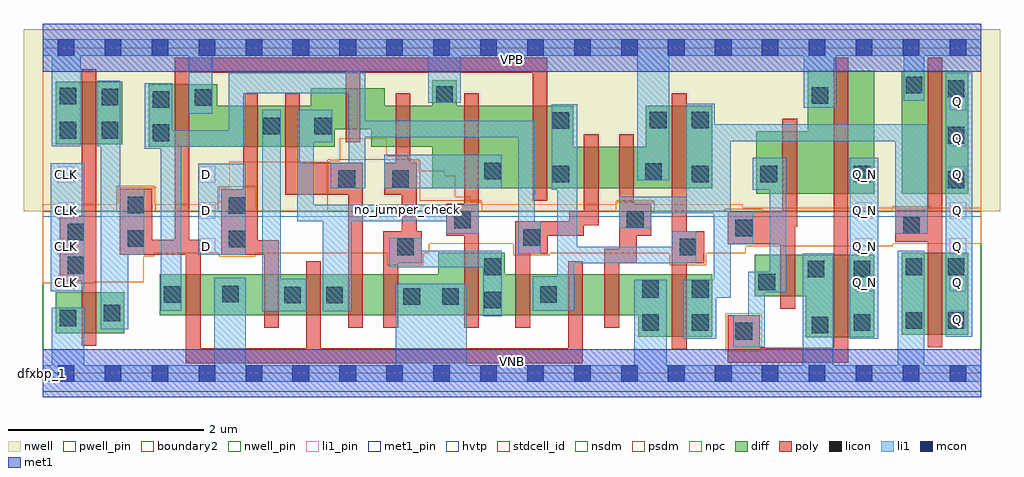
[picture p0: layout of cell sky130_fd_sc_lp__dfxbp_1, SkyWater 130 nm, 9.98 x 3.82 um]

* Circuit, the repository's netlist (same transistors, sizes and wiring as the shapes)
* Copyright 2020 The SkyWater PDK Authors
*
* Licensed under the Apache License, Version 2.0 (the "License");
* you may not use this file except in compliance with the License.
* You may obtain a copy of the License at
*
*     https://www.apache.org/licenses/LICENSE-2.0
*
* Unless required by applicable law or agreed to in writing, software
* distributed under the License is distributed on an "AS IS" BASIS,
* WITHOUT WARRANTIES OR CONDITIONS OF ANY KIND, either express or implied.
* See the License for the specific language governing permissions and
* limitations under the License.
*
* SPDX-License-Identifier: Apache-2.0

.SUBCKT sky130_fd_sc_lp__dfxbp_1 CLK D VGND VNB VPB VPWR Q Q_N
*.PININFO CLK:I D:I VGND:I VNB:I VPB:I VPWR:I Q:O Q_N:O
MI657 M0 clkpos net72 VNB sky130_fd_pr__nfet_01v8 m=1 w=0.42U l=0.15U mult=1 sa=0.265
+ sb=0.265 sd=0.28 area=0.063 perim=1.14
MI656 net72 M1 VGND VNB sky130_fd_pr__nfet_01v8 m=1 w=0.42U l=0.15U mult=1 sa=0.265
+ sb=0.265 sd=0.28 area=0.063 perim=1.14
MI646 Q S1 VGND VNB sky130_fd_pr__nfet_01v8 m=1 w=0.84U l=0.15U mult=1 sa=0.265
+ sb=0.265 sd=0.28 area=0.063 perim=1.14
MI662 net116 S1 VGND VNB sky130_fd_pr__nfet_01v8 m=1 w=0.42U l=0.15U mult=1 sa=0.265
+ sb=0.265 sd=0.28 area=0.063 perim=1.14
MI648 db clkneg M0 VNB sky130_fd_pr__nfet_01v8 m=1 w=0.42U l=0.15U mult=1 sa=0.265
+ sb=0.265 sd=0.28 area=0.063 perim=1.14
MI654 db D VGND VNB sky130_fd_pr__nfet_01v8 m=1 w=0.42U l=0.15U mult=1 sa=0.265
+ sb=0.265 sd=0.28 area=0.063 perim=1.14
MI642 S0 clkneg net48 VNB sky130_fd_pr__nfet_01v8 m=1 w=0.42U l=0.15U mult=1 sa=0.265
+ sb=0.265 sd=0.28 area=0.063 perim=1.14
MI641 net48 S1 VGND VNB sky130_fd_pr__nfet_01v8 m=1 w=0.42U l=0.15U mult=1 sa=0.265
+ sb=0.265 sd=0.28 area=0.063 perim=1.14
MI661 Q_N net116 VGND VNB sky130_fd_pr__nfet_01v8 m=1 w=0.84U l=0.15U mult=1 sa=0.265
+ sb=0.265 sd=0.28 area=0.063 perim=1.14
MI652 M1 clkpos S0 VNB sky130_fd_pr__nfet_01v8 m=1 w=0.42U l=0.15U mult=1 sa=0.265
+ sb=0.265 sd=0.28 area=0.063 perim=1.14
MI649 S1 S0 VGND VNB sky130_fd_pr__nfet_01v8 m=1 w=0.64U l=0.15U mult=1 sa=0.265
+ sb=0.265 sd=0.28 area=0.063 perim=1.14
MI635 clkneg CLK VGND VNB sky130_fd_pr__nfet_01v8 m=1 w=0.42U l=0.15U mult=1 sa=0.265
+ sb=0.265 sd=0.28 area=0.063 perim=1.14
MI636 clkpos clkneg VGND VNB sky130_fd_pr__nfet_01v8 m=1 w=0.42U l=0.15U mult=1
+ sa=0.265 sb=0.265 sd=0.28 area=0.063 perim=1.14
MI634 M1 M0 VGND VNB sky130_fd_pr__nfet_01v8 m=1 w=0.64U l=0.15U mult=1 sa=0.265
+ sb=0.265 sd=0.28 area=0.063 perim=1.14
MI659 M0 clkneg net100 VPB sky130_fd_pr__pfet_01v8_hvt m=1 w=0.42U l=0.15U mult=1
+ sa=0.265 sb=0.265 sd=0.28 area=0.063 perim=1.14
MI660 Q_N net116 VPWR VPB sky130_fd_pr__pfet_01v8_hvt m=1 w=1.26U l=0.15U mult=1
+ sa=0.265 sb=0.265 sd=0.28 area=0.063 perim=1.14
MI650 S1 S0 VPWR VPB sky130_fd_pr__pfet_01v8_hvt m=1 w=0.84U l=0.15U mult=1 sa=0.265
+ sb=0.265 sd=0.28 area=0.063 perim=1.14
MI644 S0 clkpos net119 VPB sky130_fd_pr__pfet_01v8_hvt m=1 w=0.42U l=0.15U mult=1
+ sa=0.265 sb=0.265 sd=0.28 area=0.063 perim=1.14
MI647 net116 S1 VPWR VPB sky130_fd_pr__pfet_01v8_hvt m=1 w=0.64U l=0.15U mult=1
+ sa=0.265 sb=0.265 sd=0.28 area=0.063 perim=1.14
MI639 M1 M0 VPWR VPB sky130_fd_pr__pfet_01v8_hvt m=1 w=0.84U l=0.15U mult=1 sa=0.265
+ sb=0.265 sd=0.28 area=0.063 perim=1.14
MI643 net119 S1 VPWR VPB sky130_fd_pr__pfet_01v8_hvt m=1 w=0.42U l=0.15U mult=1
+ sa=0.265 sb=0.265 sd=0.28 area=0.063 perim=1.14
MI638 clkneg CLK VPWR VPB sky130_fd_pr__pfet_01v8_hvt m=1 w=0.64U l=0.15U mult=1
+ sa=0.265 sb=0.265 sd=0.28 area=0.063 perim=1.14
MI658 net100 M1 VPWR VPB sky130_fd_pr__pfet_01v8_hvt m=1 w=0.42U l=0.15U mult=1
+ sa=0.265 sb=0.265 sd=0.28 area=0.063 perim=1.14
MI645 Q S1 VPWR VPB sky130_fd_pr__pfet_01v8_hvt m=1 w=1.26U l=0.15U mult=1 sa=0.265
+ sb=0.265 sd=0.28 area=0.063 perim=1.14
MI651 db clkpos M0 VPB sky130_fd_pr__pfet_01v8_hvt m=1 w=0.42U l=0.15U mult=1 sa=0.265
+ sb=0.265 sd=0.28 area=0.063 perim=1.14
MI655 db D VPWR VPB sky130_fd_pr__pfet_01v8_hvt m=1 w=0.42U l=0.15U mult=1 sa=0.265
+ sb=0.265 sd=0.28 area=0.063 perim=1.14
MI653 M1 clkneg S0 VPB sky130_fd_pr__pfet_01v8_hvt m=1 w=0.84U l=0.15U mult=1 sa=0.265
+ sb=0.265 sd=0.28 area=0.063 perim=1.14
MI637 clkpos clkneg VPWR VPB sky130_fd_pr__pfet_01v8_hvt m=1 w=0.64U l=0.15U mult=1
+ sa=0.265 sb=0.265 sd=0.28 area=0.063 perim=1.14
.ENDS sky130_fd_sc_lp__dfxbp_1

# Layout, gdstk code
import gdstk
lib = gdstk.Library(unit=1e-6, precision=1e-09)
def R(c, l, rs):  # rectangles x0, y0, x1, y1
    for r in rs: c.add(gdstk.rectangle(r[:2], r[2:], *l))
def A(c, l, x, y, w, h, nx, ny, dx, dy):  # array of equal rectangles
    R(c, l, [(x+i*dx, y+j*dy, x+i*dx+w, y+j*dy+h) for i in range(nx) for j in range(ny)])
def P(c, l, *ps):  # polygons
    for p in ps: c.add(gdstk.Polygon(p, *l))
nwell_pin = (64, 16)
nwell = (64, 20)
diff = (65, 20)
poly = (66, 20)
licon = (66, 44)
li1_pin = (67, 16)
li1 = (67, 20)
mcon = (67, 44)
met1_pin = (68, 16)
met1 = (68, 20)
hvtp = (78, 44)
stdcell_id = (81, 4)
nsdm = (93, 44)
psdm = (94, 20)
npc = (95, 20)
pwell_pin = (122, 16)
boundary2 = (236, 0)

sky130_fd_sc_lp__dfxbp_1 = lib.new_cell('sky130_fd_sc_lp__dfxbp_1')
R(sky130_fd_sc_lp__dfxbp_1, nwell_pin, [(0,3.085,9.6,3.33)])
R(sky130_fd_sc_lp__dfxbp_1, nwell, [(-0.19,1.655,9.79,3.52)])
R(sky130_fd_sc_lp__dfxbp_1, diff, [(8.785,0.395,9.465,1.235), (0.135,0.41,0.835,0.83), (8.785,1.835,9.465,3.095), (0.135,2.34,0.815,2.98)])
P(sky130_fd_sc_lp__dfxbp_1, diff, [(6.85,2.735),(6.17,2.735),(6.17,2.315),(5.425,2.315),(5.425,2.735),(4.235,2.735),(4.235,2.995),(3.985,2.995),(3.985,2.735),(3.5,2.735),(3.5,2.915),(2.74,2.915),(2.74,2.735),(1.785,2.735),(1.785,2.955),(1.085,2.955),(1.085,2.315),(2.99,2.315),(2.99,2.495),(3.36,2.495),(3.36,2.315),(3.985,2.315),(3.985,1.895),(6.85,1.895)],
  [(6.85,1.015),(4.725,1.015),(4.725,1.235),(4.045,1.235),(4.045,1.015),(1.2,1.015),(1.2,0.595),(6.09,0.595),(6.09,0.375),(6.85,0.375)],
  [(8.505,3.095),(7.825,3.095),(7.825,2.475),(7.3,2.475),(7.3,1.835),(8.505,1.835)],
  [(8.505,1.21),(7.28,1.21),(7.28,0.79),(7.805,0.79),(7.805,0.37),(8.505,0.37)])
P(sky130_fd_sc_lp__dfxbp_1, poly, [(3.875,1.455),(3.825,1.455),(3.825,2.155),(3.76,2.155),(3.76,2.865),(3.61,2.865),(3.61,2.155),(3.495,2.155),(3.495,1.825),(3.675,1.825),(3.675,1.455),(3.485,1.455),(3.485,0.465),(3.635,0.465),(3.635,1.125),(3.875,1.125)],
  [(0.55,3.11),(0.4,3.11),(0.4,1.61),(0.175,1.61),(0.175,0.94),(0.4,0.94),(0.4,0.28),(0.55,0.28)],
  [(2.415,1.36),(2.2,1.36),(2.2,2.865),(2.05,2.865),(2.05,1.88),(1.825,1.88),(1.825,1.21),(2.265,1.21),(2.265,0.465),(2.415,0.465)],
  [(3.275,2.155),(2.63,2.155),(2.63,2.865),(2.48,2.865),(2.48,1.825),(3.125,1.825),(3.125,0.465),(3.275,0.465)],
  [(4.46,2.865),(4.31,2.865),(4.31,1.735),(4.13,1.735),(4.13,1.405),(4.31,1.405),(4.31,0.465),(4.46,0.465)],
  [(5.525,1.145),(5.375,1.145),(5.375,0.255),(2.845,0.255),(2.845,1.145),(2.695,1.145),(2.695,0.255),(1.615,0.255),(1.615,1.365),(1.5,1.365),(1.5,3.075),(3.1,3.075),(3.1,2.365),(3.25,2.365),(3.25,3.075),(5.01,3.075),(5.01,1.765),(5.16,1.765),(5.16,3.225),(1.35,3.225),(1.35,1.365),(1.12,1.365),(1.12,1.885),(0.79,1.885),(0.79,1.215),(1.465,1.215),(1.465,0.105),(5.525,0.105)],
  [(5.685,2.445),(5.535,2.445),(5.535,1.665),(5.385,1.665),(5.385,1.555),(4.835,1.555),(4.835,0.465),(4.985,0.465),(4.985,1.225),(5.165,1.225),(5.165,1.405),(5.535,1.405),(5.535,1.515),(5.685,1.515)],
  [(6.225,1.735),(6.045,1.735),(6.045,2.445),(5.895,2.445),(5.895,1.275),(5.745,1.275),(5.745,0.465),(5.895,0.465),(5.895,1.125),(6.075,1.125),(6.075,1.405),(6.225,1.405)],
  [(6.765,1.455),(6.585,1.455),(6.585,2.865),(6.435,2.865),(6.435,0.245),(6.585,0.245),(6.585,1.125),(6.765,1.125)],
  [(7.715,2.605),(7.565,2.605),(7.565,1.65),(7.005,1.65),(7.005,1.32),(7.545,1.32),(7.545,0.66),(7.695,0.66),(7.695,1.5),(7.715,1.5)],
  [(8.24,3.225),(8.09,3.225),(8.09,0.26),(7.335,0.26),(7.335,0.595),(7.005,0.595),(7.005,0.11),(8.24,0.11)],
  [(9.2,3.225),(9.05,3.225),(9.05,1.675),(8.72,1.675),(8.72,1.345),(9.05,1.345),(9.05,0.265),(9.2,0.265)])
R(sky130_fd_sc_lp__dfxbp_1, licon, [(7.085,0.345,7.255,0.515), (7.865,0.41,8.035,0.58), (6.13,0.435,6.3,0.605), (6.64,0.435,6.81,0.605), (8.295,0.435,8.465,0.605), (8.825,0.455,8.995,0.625), (9.255,0.455,9.425,0.625), (0.175,0.48,0.345,0.65), (0.625,0.53,0.795,0.7), (4.515,0.665,4.685,0.835), (3.69,0.7,3.86,0.87), (4.085,0.7,4.255,0.87), (2.47,0.715,2.64,0.885), (2.9,0.715,3.07,0.885), (1.24,0.72,1.41,0.89), (5.09,0.72,5.26,0.89), (1.835,0.725,2.005,0.895), (6.13,0.775,6.3,0.945), (6.64,0.775,6.81,0.945), (7.32,0.85,7.49,1.02), (7.825,0.98,7.995,1.15), (8.295,0.98,8.465,1.15), (4.515,1.005,4.685,1.175), (8.825,1.005,8.995,1.175), (9.255,1.005,9.425,1.175), (0.255,1.02,0.425,1.19), (3.625,1.205,3.795,1.375), (6.515,1.205,6.685,1.375), (1.905,1.29,2.075,1.46), (0.87,1.295,1.04,1.465), (4.915,1.305,5.085,1.475), (0.255,1.36,0.425,1.53), (7.085,1.4,7.255,1.57), (8.8,1.425,8.97,1.595), (4.21,1.485,4.38,1.655), (5.975,1.485,6.145,1.655), (1.905,1.63,2.075,1.8), (0.87,1.635,1.04,1.805), (9.255,1.895,9.425,2.065), (3.025,1.905,3.195,2.075), (3.575,1.905,3.745,2.075), (5.215,1.955,5.385,2.125), (6.64,1.955,6.81,2.125), (7.34,1.955,7.51,2.125), (8.295,1.955,8.465,2.125), (6.16,1.98,6.33,2.15), (4.515,1.985,4.685,2.155), (9.255,2.35,9.425,2.52), (1.125,2.375,1.295,2.545), (0.175,2.4,0.345,2.57), (0.605,2.4,0.775,2.57), (2.255,2.445,2.425,2.615), (2.78,2.445,2.95,2.615), (5.215,2.5,5.385,2.67), (6.21,2.505,6.38,2.675), (6.64,2.505,6.81,2.675), (1.125,2.715,1.295,2.885), (1.555,2.735,1.725,2.905), (0.605,2.74,0.775,2.91), (0.175,2.75,0.345,2.92), (7.865,2.755,8.035,2.925), (4.025,2.765,4.195,2.935), (9.255,2.825,9.425,2.995), (8.825,2.865,8.995,3.035)])
A(sky130_fd_sc_lp__dfxbp_1, li1_pin, 9.275, 0.47, 0.17, 0.17, 1, 7, 0, 0.37)
A(sky130_fd_sc_lp__dfxbp_1, li1_pin, 0.155, 0.84, 0.17, 0.17, 1, 4, 0, 0.37)
A(sky130_fd_sc_lp__dfxbp_1, li1_pin, 8.315, 0.84, 0.17, 0.17, 1, 4, 0, 0.37)
A(sky130_fd_sc_lp__dfxbp_1, li1_pin, 1.595, 1.21, 0.17, 0.17, 1, 3, 0, 0.37)
R(sky130_fd_sc_lp__dfxbp_1, li1, [(8.255,0.355,8.545,2.205), (9.235,0.375,9.505,3.075), (0.085,0.84,0.425,2.15), (1.59,1.21,2.075,2.145), (3.495,1.895,4.695,2.235)])
P(sky130_fd_sc_lp__dfxbp_1, li1, [(9.05,2.545),(6.875,2.545),(6.875,2.755),(6.58,2.755),(6.58,1.805),(5.895,1.805),(5.895,1.485),(6.225,1.485),(6.225,1.635),(6.865,1.635),(6.865,0.955),(6.55,0.955),(6.55,0.355),(6.89,0.355),(6.89,0.775),(7.035,0.775),(7.035,1.32),(7.265,1.32),(7.265,1.65),(7.035,1.65),(7.035,2.375),(8.72,2.375),(8.72,1.425),(9.05,1.425)],
  [(1.325,2.485),(1.905,2.485),(1.905,3.075),(3.3,3.075),(3.3,2.585),(5.035,2.585),(5.035,1.555),(5.095,1.555),(5.095,1.225),(4.865,1.225),(4.865,2.415),(3.3,2.415),(3.3,1.895),(2.945,1.895),(2.945,2.155),(3.13,2.155),(3.13,2.865),(2.075,2.865),(2.075,2.315),(1.42,2.315),(1.42,0.64),(1.21,0.64),(1.21,2.295),(1.045,2.295),(1.045,2.965),(1.325,2.965)],
  [(3.945,2.765),(3.945,3.245),(1.735,3.245),(1.735,2.655),(1.495,2.655),(1.495,3.245),(0.39,3.245),(0.39,2.32),(0.095,2.32),(0.095,3.245),(0,3.245),(0,3.415),(9.6,3.415),(9.6,3.245),(9.015,3.245),(9.015,2.785),(8.805,2.785),(8.805,3.245),(8.115,3.245),(8.115,2.715),(7.785,2.715),(7.785,3.245),(6.41,3.245),(6.41,1.975),(6.08,1.975),(6.08,3.245),(4.275,3.245),(4.275,2.765)],
  [(0.095,0.085),(0.095,0.67),(0.425,0.67),(0.425,0.085),(1.755,0.085),(1.755,0.975),(2.075,0.975),(2.075,0.085),(3.61,0.085),(3.61,0.915),(4.335,0.915),(4.335,0.085),(6.05,0.085),(6.05,0.955),(6.38,0.955),(6.38,0.085),(7.775,0.085),(7.775,1.23),(8.085,1.23),(8.085,0.085),(8.745,0.085),(8.745,1.255),(9.015,1.255),(9.015,0.085),(9.6,0.085),(9.6,-0.085),(0,-0.085),(0,0.085)],
  [(7.215,0.595),(7.215,1.04),(7.435,1.04),(7.435,1.875),(7.26,1.875),(7.26,2.205),(7.605,2.205),(7.605,0.83),(7.385,0.83),(7.385,0.265),(7.06,0.265),(7.06,0.595)],
  [(5.265,0.995),(5.265,1.875),(5.205,1.875),(5.205,2.75),(5.465,2.75),(5.465,1.295),(6.435,1.295),(6.435,1.455),(6.685,1.455),(6.685,1.125),(5.435,1.125),(5.435,0.64),(5.01,0.64),(5.01,0.995)],
  [(2.775,2.365),(2.775,1.725),(4.46,1.725),(4.46,1.425),(4.13,1.425),(4.13,1.555),(3.16,1.555),(3.16,0.635),(2.865,0.635),(2.865,1.555),(2.605,1.555),(2.605,2.695),(2.96,2.695),(2.96,2.365)],
  [(2.435,0.965),(2.695,0.965),(2.695,0.635),(2.245,0.635),(2.245,2.695),(2.435,2.695)],
  [(1.04,1.885),(0.795,1.885),(0.795,2.99),(0.56,2.99),(0.56,2.32),(0.595,2.32),(0.595,0.45),(0.875,0.45),(0.875,1.215),(1.04,1.215)],
  [(3.875,1.255),(4.695,1.255),(4.695,0.585),(4.505,0.585),(4.505,1.085),(3.545,1.085),(3.545,1.385),(3.875,1.385)])
A(sky130_fd_sc_lp__dfxbp_1, mcon, 0.155, -0.085, 0.17, 0.17, 20, 2, 0.48, 3.33)
R(sky130_fd_sc_lp__dfxbp_1, met1_pin, [(0,0,9.6,0.245), (0,3.085,9.6,3.33)])
R(sky130_fd_sc_lp__dfxbp_1, met1, [(0,-0.245,9.6,0.245), (0,3.085,9.6,3.575)])
R(sky130_fd_sc_lp__dfxbp_1, hvtp, [(0,1.6,9.6,3.33)])
R(sky130_fd_sc_lp__dfxbp_1, stdcell_id, [(0,0,9.6,3.33)])
R(sky130_fd_sc_lp__dfxbp_1, nsdm, [(0,-0.19,9.6,1.655)])
P(sky130_fd_sc_lp__dfxbp_1, psdm, [(9.6,3.52),(0,3.52),(0,1.655),(0.76,1.655),(0.76,1.915),(1.15,1.915),(1.15,1.655),(1.795,1.655),(1.795,1.91),(2.185,1.91),(2.185,1.655),(2.915,1.655),(2.915,2.185),(3.855,2.185),(3.855,1.765),(4.49,1.765),(4.49,1.655),(5.865,1.655),(5.865,1.765),(6.255,1.765),(6.255,1.655),(6.975,1.655),(6.975,1.68),(7.365,1.68),(7.365,1.655),(8.69,1.655),(8.69,1.705),(9.08,1.705),(9.08,1.655),(9.6,1.655)])
R(sky130_fd_sc_lp__dfxbp_1, npc, [(6.985,0.225,7.355,0.615)])
P(sky130_fd_sc_lp__dfxbp_1, npc, [(9.6,1.695),(7.16,1.695),(7.16,1.73),(6.245,1.73),(6.245,1.755),(5.875,1.755),(5.875,1.73),(4.48,1.73),(4.48,1.755),(4.375,1.755),(4.375,1.805),(4.22,1.805),(4.22,2.02),(4.11,2.02),(4.11,2.07),(3.845,2.07),(3.845,2.175),(3.74,2.175),(3.74,2.225),(3.52,2.225),(3.52,2.405),(3.04,2.405),(3.04,2.175),(2.935,2.175),(2.935,2.165),(1.91,2.165),(1.91,1.9),(1.805,1.9),(1.805,1.73),(1.14,1.73),(1.14,1.905),(0.77,1.905),(0.77,1.73),(0,1.73),(0,0.92),(0.525,0.92),(0.525,0.93),(1.035,0.93),(1.035,1.195),(1.14,1.195),(1.14,1.23),(1.805,1.23),(1.805,1.19),(2.175,1.19),(2.175,1.23),(3.525,1.23),(3.525,1.105),(3.895,1.105),(3.895,1.23),(3.955,1.23),(3.955,1.325),(4.815,1.325),(4.815,1.205),(5.185,1.205),(5.185,1.23),(6.415,1.23),(6.415,1.105),(6.785,1.105),(6.785,1.23),(7.19,1.23),(7.19,1.3),(8.695,1.3),(8.695,1.325),(9.6,1.325)])
R(sky130_fd_sc_lp__dfxbp_1, pwell_pin, [(0,0,9.6,0.245)])
R(sky130_fd_sc_lp__dfxbp_1, boundary2, [(0,0,9.6,3.33)])
sky130_fd_sc_lp__dfxbp_1.add(gdstk.Label('VNB', (4.8,0.123), layer=64, texttype=59))
sky130_fd_sc_lp__dfxbp_1.add(gdstk.Label('VPB', (4.8,3.208), layer=64, texttype=5))
sky130_fd_sc_lp__dfxbp_1.add(gdstk.Label('dfxbp_1', (0,0), layer=83, texttype=44))
sky130_fd_sc_lp__dfxbp_1.add(gdstk.Label('no_jumper_check', (3.73,1.675), layer=83, texttype=44))
sky130_fd_sc_lp__dfxbp_1.add(gdstk.Label('VPWR', (4.8,3.208), layer=68, texttype=5))
sky130_fd_sc_lp__dfxbp_1.add(gdstk.Label('VGND', (4.8,0.123), layer=68, texttype=5))
sky130_fd_sc_lp__dfxbp_1.add(gdstk.Label('CLK', (0.24,0.925), layer=67, texttype=5))
sky130_fd_sc_lp__dfxbp_1.add(gdstk.Label('CLK', (0.24,1.295), layer=67, texttype=5))
sky130_fd_sc_lp__dfxbp_1.add(gdstk.Label('CLK', (0.24,1.665), layer=67, texttype=5))
sky130_fd_sc_lp__dfxbp_1.add(gdstk.Label('CLK', (0.24,2.035), layer=67, texttype=5))
sky130_fd_sc_lp__dfxbp_1.add(gdstk.Label('D', (1.68,1.295), layer=67, texttype=5))
sky130_fd_sc_lp__dfxbp_1.add(gdstk.Label('D', (1.68,1.665), layer=67, texttype=5))
sky130_fd_sc_lp__dfxbp_1.add(gdstk.Label('D', (1.68,2.035), layer=67, texttype=5))
sky130_fd_sc_lp__dfxbp_1.add(gdstk.Label('Q_N', (8.4,0.925), layer=67, texttype=5))
sky130_fd_sc_lp__dfxbp_1.add(gdstk.Label('Q_N', (8.4,1.295), layer=67, texttype=5))
sky130_fd_sc_lp__dfxbp_1.add(gdstk.Label('Q_N', (8.4,1.665), layer=67, texttype=5))
sky130_fd_sc_lp__dfxbp_1.add(gdstk.Label('Q_N', (8.4,2.035), layer=67, texttype=5))
sky130_fd_sc_lp__dfxbp_1.add(gdstk.Label('Q', (9.36,0.555), layer=67, texttype=5))
sky130_fd_sc_lp__dfxbp_1.add(gdstk.Label('Q', (9.36,0.925), layer=67, texttype=5))
sky130_fd_sc_lp__dfxbp_1.add(gdstk.Label('Q', (9.36,1.295), layer=67, texttype=5))
sky130_fd_sc_lp__dfxbp_1.add(gdstk.Label('Q', (9.36,1.665), layer=67, texttype=5))
sky130_fd_sc_lp__dfxbp_1.add(gdstk.Label('Q', (9.36,2.035), layer=67, texttype=5))
sky130_fd_sc_lp__dfxbp_1.add(gdstk.Label('Q', (9.36,2.405), layer=67, texttype=5))
sky130_fd_sc_lp__dfxbp_1.add(gdstk.Label('Q', (9.36,2.775), layer=67, texttype=5))

lib.write_gds('sky130_fd_sc_lp__dfxbp_1.gds')
